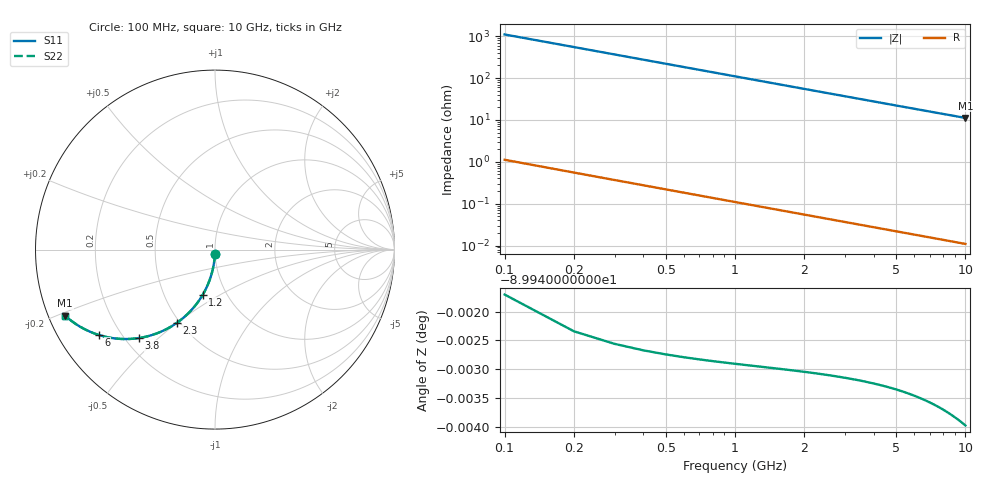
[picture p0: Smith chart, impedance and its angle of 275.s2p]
# Hz S RI R 50.00
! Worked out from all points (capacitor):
!   100 points, 100 MHz to 10 GHz, reference 50 ohm
!   read as one part in shunt: C = 1.45 pF near 100 MHz
!   lowest |Z| = 11.2 ohm at 10 GHz (marker M1)
!   S11 on the Smith chart (normalised r, x): 100 MHz: 1.00, -0.05; 1.2 GHz: 0.77, -0.42; 2.3 GHz: 0.48, -0.50; 3.8 GHz: 0.25, -0.43; 6 GHz: 0.12, -0.32; 10 GHz: 0.05, -0.21
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1e8  -0.00053 -0.0227  0.9995 -0.0227  0.9995 -0.0227  -0.00053 -0.0227
2e8  -0.0021 -0.0453  0.9979 -0.0454  0.9979 -0.0454  -0.0021 -0.0453
3e8  -0.00468 -0.0677  0.9953 -0.0679  0.9953 -0.0679  -0.00468 -0.0677
4e8  -0.00826 -0.09  0.9917 -0.0902  0.9917 -0.0902  -0.00826 -0.09
5e8  -0.0128 -0.1119  0.9872 -0.1122  0.9872 -0.1122  -0.0128 -0.1119
6e8  -0.0183 -0.1336  0.9816 -0.1339  0.9816 -0.1339  -0.0183 -0.1336
7e8  -0.0248 -0.1548  0.9752 -0.1552  0.9752 -0.1552  -0.0248 -0.1548
9e8  -0.0402 -0.1958  0.9597 -0.1963  0.9597 -0.1963  -0.0402 -0.1958
1.2e9  -0.0693 -0.2531  0.9307 -0.2537  0.9307 -0.2537  -0.0693 -0.2531
1.5e9  -0.104 -0.3044  0.896 -0.3052  0.896 -0.3052  -0.104 -0.3044
1.8e9  -0.1431 -0.3492  0.8569 -0.3502  0.8569 -0.3502  -0.1431 -0.3492
2.3e9  -0.2139 -0.409  0.786 -0.4102  0.786 -0.4102  -0.2139 -0.409
2.8e9  -0.2871 -0.4511  0.7129 -0.4527  0.7129 -0.4527  -0.2871 -0.4511
3.4e9  -0.3721 -0.4819  0.6279 -0.4838  0.6279 -0.4838  -0.3721 -0.4819
3.8e9  -0.4251 -0.4928  0.5749 -0.4949  0.5749 -0.4949  -0.4251 -0.4928
4.4e9  -0.4973 -0.4983  0.5026 -0.5007  0.5026 -0.5007  -0.4973 -0.4983
5.1e9  -0.5702 -0.4931  0.4298 -0.496  0.4298 -0.496  -0.5702 -0.4931
6e9  -0.6469 -0.4758  0.3531 -0.4791  0.3531 -0.4791  -0.6469 -0.4758
6.7e9  -0.6952 -0.458  0.3048 -0.4617  0.3048 -0.4617  -0.6952 -0.458
7.5e9  -0.7405 -0.4358  0.2595 -0.44  0.2595 -0.44  -0.7405 -0.4358
8.4e9  -0.7813 -0.4105  0.2186 -0.4152  0.2186 -0.4152  -0.7813 -0.4105
1e10  -0.8348 -0.3681  0.1652 -0.3737  0.1652 -0.3737  -0.8348 -0.3681
